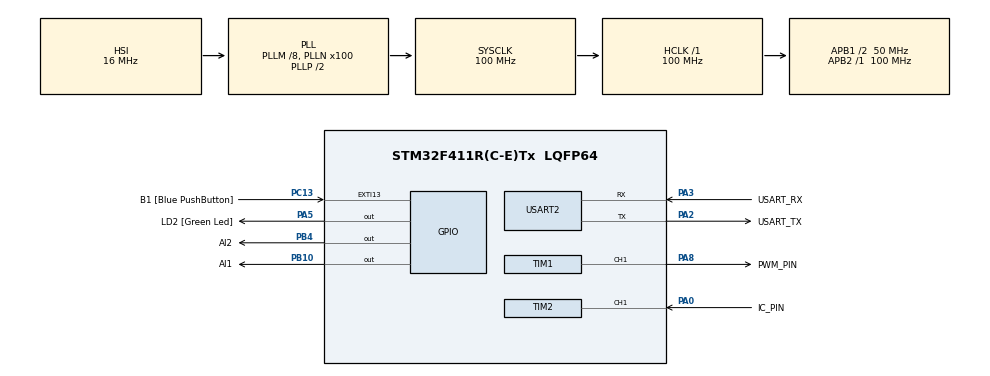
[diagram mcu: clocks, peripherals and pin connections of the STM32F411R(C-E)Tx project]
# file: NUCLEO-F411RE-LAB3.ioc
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Dma.Request0=TIM2_CH1
Dma.TIM2_CH1.0.Direction=DMA_PERIPH_TO_MEMORY
Dma.TIM2_CH1.0.FIFOMode=DMA_FIFOMODE_DISABLE
Dma.TIM2_CH1.0.Instance=DMA1_Stream5
Dma.TIM2_CH1.0.MemDataAlignment=DMA_MDATAALIGN_WORD
Dma.TIM2_CH1.0.MemInc=DMA_MINC_ENABLE
Dma.TIM2_CH1.0.Mode=DMA_CIRCULAR
Dma.TIM2_CH1.0.PeriphDataAlignment=DMA_PDATAALIGN_WORD
Dma.TIM2_CH1.0.PeriphInc=DMA_PINC_DISABLE
Dma.TIM2_CH1.0.Priority=DMA_PRIORITY_LOW
Mcu.Family=STM32F4
Mcu.Name=STM32F411R(C-E)Tx
Mcu.Package=LQFP64
NVIC.DMA1_Stream5_IRQn=true\:0\:0\:false\:false\:true\:false\:true\:true
NVIC.PriorityGroup=NVIC_PRIORITYGROUP_0
NVIC.TIM3_IRQn=true\:0\:0\:false\:false\:true\:true\:true\:true
PA0-WKUP.GPIO_Label=IC_PIN
PA0-WKUP.Signal=S_TIM2_CH1_ETR
PA13.GPIO_Label=TMS
PA13.Mode=Serial_Wire
PA13.Signal=SYS_JTMS-SWDIO
PA14.GPIO_Label=TCK
PA14.Mode=Serial_Wire
PA14.Signal=SYS_JTCK-SWCLK
PA2.GPIO_Label=USART_TX
PA2.Mode=Asynchronous
PA2.Signal=USART2_TX
PA3.GPIO_Label=USART_RX
PA3.Mode=Asynchronous
PA3.Signal=USART2_RX
PA5.GPIO_Label=LD2 [Green Led]
PA5.Signal=GPIO_Output
PA8.GPIO_Label=PWM_PIN
PA8.Signal=S_TIM1_CH1
PB10.GPIO_Label=AI1
PB10.Signal=GPIO_Output
PB3.GPIO_Label=SWO
PB3.Signal=SYS_JTDO-SWO
PB4.GPIO_Label=AI2
PB4.Signal=GPIO_Output
PC13-ANTI_TAMP.GPIO_Label=B1 [Blue PushButton]
PC13-ANTI_TAMP.GPIO_ModeDefaultEXTI=GPIO_MODE_IT_FALLING
PC13-ANTI_TAMP.Signal=GPXTI13
PC14-OSC32_IN.Mode=LSE-External-Oscillator
PC14-OSC32_IN.Signal=RCC_OSC32_IN
PC15-OSC32_OUT.Mode=LSE-External-Oscillator
PC15-OSC32_OUT.Signal=RCC_OSC32_OUT
PH0\ -\ OSC_IN.Mode=HSE-External-Clock-Source
PH0\ -\ OSC_IN.Signal=RCC_OSC_IN
PH1\ -\ OSC_OUT.Mode=HSE-External-Clock-Source
PH1\ -\ OSC_OUT.Signal=RCC_OSC_OUT
ProjectManager.HeapSize=0x200
ProjectManager.StackSize=0x400
ProjectManager.TargetToolchain=STM32CubeIDE
RCC.48MHZClocksFreq_Value=50000000
RCC.AHBFreq_Value=100000000
RCC.APB1CLKDivider=RCC_HCLK_DIV2
RCC.APB1Freq_Value=50000000
RCC.APB1TimFreq_Value=100000000
RCC.APB2Freq_Value=100000000
RCC.APB2TimFreq_Value=100000000
RCC.CortexFreq_Value=100000000
RCC.FLatency-AdvancedSettings=FLASH_LATENCY_3
RCC.HCLKFreq_Value=100000000
RCC.HSE_VALUE=8000000
RCC.HSI_VALUE=16000000
RCC.PLLM=8
RCC.PLLN=100
RCC.SYSCLKFreq_VALUE=100000000
RCC.SYSCLKSource=RCC_SYSCLKSOURCE_PLLCLK
RCC.VCOOutputFreq_Value=200000000
SH.S_TIM1_CH1.0=TIM1_CH1,PWM Generation1 CH1
SH.S_TIM2_CH1_ETR.0=TIM2_CH1,Input_Capture1_from_TI1
TIM1.Channel-PWM\ Generation1\ CH1=TIM_CHANNEL_1
TIM1.Period=62500 - 1
TIM1.Prescaler=2 - 1
TIM2.Channel-Input_Capture1_from_TI1=TIM_CHANNEL_1
TIM2.Prescaler=100 - 1
TIM3.Period=50000 - 1
TIM3.Prescaler=4 - 1
USART2.VirtualMode=VM_ASYNC
VP_TIM1_VS_ClockSourceINT.Mode=Internal
VP_TIM2_VS_ClockSourceINT.Mode=Internal
VP_TIM3_VS_ClockSourceINT.Mode=Internal
board=NUCLEO-F411RE

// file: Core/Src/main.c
/* USER CODE BEGIN Header */
/**
  ******************************************************************************
  * @file           : main.c
  * @brief          : Main program body
  ******************************************************************************
  * @attention
  *
  * Copyright (c) 2023 STMicroelectronics.
  * All rights reserved.
  *
  * This software is licensed under terms that can be found in the LICENSE file
  * in the root directory of this software component.
  * If no LICENSE file comes with this software, it is provided AS-IS.
  *
  ******************************************************************************
  */
/* USER CODE END Header */
#include "main.h"

/* USER CODE BEGIN Includes */
#include "motor_control.h"
/* USER CODE END Includes */

TIM_HandleTypeDef htim1;
TIM_HandleTypeDef htim2;
TIM_HandleTypeDef htim3;
DMA_HandleTypeDef hdma_tim2_ch1;

UART_HandleTypeDef huart2;

/* USER CODE BEGIN PV */
extern MOTOR_Structure M1;

uint32_t IC_Buffer[IC_BUFFER_SIZE];

int MotorSetRPM = 0;
GPIO_PinState MotorControlEnable = GPIO_PIN_SET;

float PWM_Duty_Cycle = 0;
float RPM = 0;
float c;

uint8_t DMACurrentPointer = 0;
uint8_t DMAPreviousPointer = 0;
/* USER CODE END PV */

void SystemClock_Config(void);
static void MX_GPIO_Init(void);
static void MX_DMA_Init(void);
static void MX_USART2_UART_Init(void);
static void MX_TIM1_Init(void);
static void MX_TIM2_Init(void);
static void MX_TIM3_Init(void);

int main(void)
{
  /* USER CODE BEGIN 1 */
	c = ComputeLowpassConstant(20, 500);
  /* USER CODE END 1 */

  /* MCU Configuration--------------------------------------------------------*/

  /* Reset of all peripherals, Initializes the Flash interface and the Systick. */
  HAL_Init();

  /* Configure the system clock */
  SystemClock_Config();

  /* Initialize all configured peripherals */
  MX_GPIO_Init();
  MX_DMA_Init();
  MX_USART2_UART_Init();
  MX_TIM1_Init();
  MX_TIM2_Init();
  MX_TIM3_Init();
  /* USER CODE BEGIN 2 */
  HAL_TIM_Base_Start(&htim1);
  HAL_TIM_Base_Start(&htim2);
  HAL_TIM_Base_Start_IT(&htim3);
  HAL_TIM_PWM_Start(&htim1, TIM_CHANNEL_1);
  HAL_TIM_IC_Start_DMA(&htim2, TIM_CHANNEL_1, IC_Buffer, IC_BUFFER_SIZE);
  /* USER CODE END 2 */

  /* Infinite loop */
  while (1)
  {

  }
}

void SystemClock_Config(void)
{
  RCC_OscInitTypeDef RCC_OscInitStruct = {0};
  RCC_ClkInitTypeDef RCC_ClkInitStruct = {0};

  /** Configure the main internal regulator output voltage
  */
  __HAL_RCC_PWR_CLK_ENABLE();
  __HAL_PWR_VOLTAGESCALING_CONFIG(PWR_REGULATOR_VOLTAGE_SCALE1);

  /** Initializes the RCC Oscillators according to the specified parameters
  * in the RCC_OscInitTypeDef structure.
  */
  RCC_OscInitStruct.OscillatorType = RCC_OSCILLATORTYPE_HSI;
  RCC_OscInitStruct.HSIState = RCC_HSI_ON;
  RCC_OscInitStruct.HSICalibrationValue = RCC_HSICALIBRATION_DEFAULT;
  RCC_OscInitStruct.PLL.PLLState = RCC_PLL_ON;
  RCC_OscInitStruct.PLL.PLLSource = RCC_PLLSOURCE_HSI;
  RCC_OscInitStruct.PLL.PLLM = 8;
  RCC_OscInitStruct.PLL.PLLN = 100;
  RCC_OscInitStruct.PLL.PLLP = RCC_PLLP_DIV2;
  RCC_OscInitStruct.PLL.PLLQ = 4;
  if (HAL_RCC_OscConfig(&RCC_OscInitStruct) != HAL_OK)
  {
    Error_Handler();
  }

  /** Initializes the CPU, AHB and APB buses clocks
  */
  RCC_ClkInitStruct.ClockType = RCC_CLOCKTYPE_HCLK|RCC_CLOCKTYPE_SYSCLK
                              |RCC_CLOCKTYPE_PCLK1|RCC_CLOCKTYPE_PCLK2;
  RCC_ClkInitStruct.SYSCLKSource = RCC_SYSCLKSOURCE_PLLCLK;
  RCC_ClkInitStruct.AHBCLKDivider = RCC_SYSCLK_DIV1;
  RCC_ClkInitStruct.APB1CLKDivider = RCC_HCLK_DIV2;
  RCC_ClkInitStruct.APB2CLKDivider = RCC_HCLK_DIV1;

  if (HAL_RCC_ClockConfig(&RCC_ClkInitStruct, FLASH_LATENCY_3) != HAL_OK)
  {
    Error_Handler();
  }
}

static void MX_TIM1_Init(void)
{

  TIM_ClockConfigTypeDef sClockSourceConfig = {0};
  TIM_MasterConfigTypeDef sMasterConfig = {0};
  TIM_OC_InitTypeDef sConfigOC = {0};
  TIM_BreakDeadTimeConfigTypeDef sBreakDeadTimeConfig = {0};

  htim1.Instance = TIM1;
  htim1.Init.Prescaler = 2 - 1;
  htim1.Init.CounterMode = TIM_COUNTERMODE_UP;
  htim1.Init.Period = 62500 - 1;
  htim1.Init.ClockDivision = TIM_CLOCKDIVISION_DIV1;
  htim1.Init.RepetitionCounter = 0;
  htim1.Init.AutoReloadPreload = TIM_AUTORELOAD_PRELOAD_DISABLE;
  if (HAL_TIM_Base_Init(&htim1) != HAL_OK)
  {
    Error_Handler();
  }
  sClockSourceConfig.ClockSource = TIM_CLOCKSOURCE_INTERNAL;
  if (HAL_TIM_ConfigClockSource(&htim1, &sClockSourceConfig) != HAL_OK)
  {
    Error_Handler();
  }
  if (HAL_TIM_PWM_Init(&htim1) != HAL_OK)
  {
    Error_Handler();
  }
  sMasterConfig.MasterOutputTrigger = TIM_TRGO_RESET;
  sMasterConfig.MasterSlaveMode = TIM_MASTERSLAVEMODE_DISABLE;
  if (HAL_TIMEx_MasterConfigSynchronization(&htim1, &sMasterConfig) != HAL_OK)
  {
    Error_Handler();
  }
  sConfigOC.OCMode = TIM_OCMODE_PWM1;
  sConfigOC.Pulse = 0;
  sConfigOC.OCPolarity = TIM_OCPOLARITY_HIGH;
  sConfigOC.OCNPolarity = TIM_OCNPOLARITY_HIGH;
  sConfigOC.OCFastMode = TIM_OCFAST_DISABLE;
  sConfigOC.OCIdleState = TIM_OCIDLESTATE_RESET;
  sConfigOC.OCNIdleState = TIM_OCNIDLESTATE_RESET;
  if (HAL_TIM_PWM_ConfigChannel(&htim1, &sConfigOC, TIM_CHANNEL_1) != HAL_OK)
  {
    Error_Handler();
  }
  sBreakDeadTimeConfig.OffStateRunMode = TIM_OSSR_DISABLE;
  sBreakDeadTimeConfig.OffStateIDLEMode = TIM_OSSI_DISABLE;
  sBreakDeadTimeConfig.LockLevel = TIM_LOCKLEVEL_OFF;
  sBreakDeadTimeConfig.DeadTime = 0;
  sBreakDeadTimeConfig.BreakState = TIM_BREAK_DISABLE;
  sBreakDeadTimeConfig.BreakPolarity = TIM_BREAKPOLARITY_HIGH;
  sBreakDeadTimeConfig.AutomaticOutput = TIM_AUTOMATICOUTPUT_DISABLE;
  if (HAL_TIMEx_ConfigBreakDeadTime(&htim1, &sBreakDeadTimeConfig) != HAL_OK)
  {
    Error_Handler();
  }
  HAL_TIM_MspPostInit(&htim1);

}

static void MX_TIM2_Init(void)
{

  TIM_ClockConfigTypeDef sClockSourceConfig = {0};
  TIM_MasterConfigTypeDef sMasterConfig = {0};
  TIM_IC_InitTypeDef sConfigIC = {0};

  htim2.Instance = TIM2;
  htim2.Init.Prescaler = 100 - 1;
  htim2.Init.CounterMode = TIM_COUNTERMODE_UP;
  htim2.Init.Period = 4294967295;
  htim2.Init.ClockDivision = TIM_CLOCKDIVISION_DIV1;
  htim2.Init.AutoReloadPreload = TIM_AUTORELOAD_PRELOAD_DISABLE;
  if (HAL_TIM_Base_Init(&htim2) != HAL_OK)
  {
    Error_Handler();
  }
  sClockSourceConfig.ClockSource = TIM_CLOCKSOURCE_INTERNAL;
  if (HAL_TIM_ConfigClockSource(&htim2, &sClockSourceConfig) != HAL_OK)
  {
    Error_Handler();
  }
  if (HAL_TIM_IC_Init(&htim2) != HAL_OK)
  {
    Error_Handler();
  }
  sMasterConfig.MasterOutputTrigger = TIM_TRGO_RESET;
  sMasterConfig.MasterSlaveMode = TIM_MASTERSLAVEMODE_DISABLE;
  if (HAL_TIMEx_MasterConfigSynchronization(&htim2, &sMasterConfig) != HAL_OK)
  {
    Error_Handler();
  }
  sConfigIC.ICPolarity = TIM_INPUTCHANNELPOLARITY_RISING;
  sConfigIC.ICSelection = TIM_ICSELECTION_DIRECTTI;
  sConfigIC.ICPrescaler = TIM_ICPSC_DIV1;
  sConfigIC.ICFilter = 0;
  if (HAL_TIM_IC_ConfigChannel(&htim2, &sConfigIC, TIM_CHANNEL_1) != HAL_OK)
  {
    Error_Handler();
  }

}

static void MX_TIM3_Init(void)
{

  TIM_ClockConfigTypeDef sClockSourceConfig = {0};
  TIM_MasterConfigTypeDef sMasterConfig = {0};

  htim3.Instance = TIM3;
  htim3.Init.Prescaler = 4 - 1;
  htim3.Init.CounterMode = TIM_COUNTERMODE_UP;
  htim3.Init.Period = 50000 - 1;
  htim3.Init.ClockDivision = TIM_CLOCKDIVISION_DIV1;
  htim3.Init.AutoReloadPreload = TIM_AUTORELOAD_PRELOAD_DISABLE;
  if (HAL_TIM_Base_Init(&htim3) != HAL_OK)
  {
    Error_Handler();
  }
  sClockSourceConfig.ClockSource = TIM_CLOCKSOURCE_INTERNAL;
  if (HAL_TIM_ConfigClockSource(&htim3, &sClockSourceConfig) != HAL_OK)
  {
    Error_Handler();
  }
  sMasterConfig.MasterOutputTrigger = TIM_TRGO_RESET;
  sMasterConfig.MasterSlaveMode = TIM_MASTERSLAVEMODE_DISABLE;
  if (HAL_TIMEx_MasterConfigSynchronization(&htim3, &sMasterConfig) != HAL_OK)
  {
    Error_Handler();
  }

}

static void MX_USART2_UART_Init(void)
{

  huart2.Instance = USART2;
  huart2.Init.BaudRate = 115200;
  huart2.Init.WordLength = UART_WORDLENGTH_8B;
  huart2.Init.StopBits = UART_STOPBITS_1;
  huart2.Init.Parity = UART_PARITY_NONE;
  huart2.Init.Mode = UART_MODE_TX_RX;
  huart2.Init.HwFlowCtl = UART_HWCONTROL_NONE;
  huart2.Init.OverSampling = UART_OVERSAMPLING_16;
  if (HAL_UART_Init(&huart2) != HAL_OK)
  {
    Error_Handler();
  }

}

static void MX_DMA_Init(void)
{

  /* DMA controller clock enable */
  __HAL_RCC_DMA1_CLK_ENABLE();

  /* DMA interrupt init */
  /* DMA1_Stream5_IRQn interrupt configuration */
  HAL_NVIC_SetPriority(DMA1_Stream5_IRQn, 0, 0);
  HAL_NVIC_EnableIRQ(DMA1_Stream5_IRQn);

}

static void MX_GPIO_Init(void)
{
  GPIO_InitTypeDef GPIO_InitStruct = {0};

  /* GPIO Ports Clock Enable */
  __HAL_RCC_GPIOC_CLK_ENABLE();
  __HAL_RCC_GPIOH_CLK_ENABLE();
  __HAL_RCC_GPIOA_CLK_ENABLE();
  __HAL_RCC_GPIOB_CLK_ENABLE();

  /*Configure GPIO pin Output Level */
  HAL_GPIO_WritePin(LD2_GPIO_Port, LD2_Pin, GPIO_PIN_RESET);

  /*Configure GPIO pin Output Level */
  HAL_GPIO_WritePin(GPIOB, AI1_Pin|AI2_Pin, GPIO_PIN_RESET);

  /*Configure GPIO pin : B1_Pin */
  GPIO_InitStruct.Pin = B1_Pin;
  GPIO_InitStruct.Mode = GPIO_MODE_IT_FALLING;
  GPIO_InitStruct.Pull = GPIO_NOPULL;
  HAL_GPIO_Init(B1_GPIO_Port, &GPIO_InitStruct);

  /*Configure GPIO pin : LD2_Pin */
  GPIO_InitStruct.Pin = LD2_Pin;
  GPIO_InitStruct.Mode = GPIO_MODE_OUTPUT_PP;
  GPIO_InitStruct.Pull = GPIO_NOPULL;
  GPIO_InitStruct.Speed = GPIO_SPEED_FREQ_LOW;
  HAL_GPIO_Init(LD2_GPIO_Port, &GPIO_InitStruct);

  /*Configure GPIO pins : AI1_Pin AI2_Pin */
  GPIO_InitStruct.Pin = AI1_Pin|AI2_Pin;
  GPIO_InitStruct.Mode = GPIO_MODE_OUTPUT_PP;
  GPIO_InitStruct.Pull = GPIO_NOPULL;
  GPIO_InitStruct.Speed = GPIO_SPEED_FREQ_LOW;
  HAL_GPIO_Init(GPIOB, &GPIO_InitStruct);

}

/* USER CODE BEGIN 4 */
void HAL_TIM_PeriodElapsedCallback(TIM_HandleTypeDef *htim)
{
	if (htim->Instance == TIM3)
	{
		float RPM_Raw = MotorReadRPM(htim2, IC_Buffer);
		if (1 / RPM_Raw != 0 && PWM_Duty_Cycle != 0) RPM = (c * RPM_Raw) + ((1 - c) * RPM);
		else RPM = 0;

		if (MotorControlEnable == GPIO_PIN_SET) MotorControlRPM(M1, MotorSetRPM, RPM);
		else MotorSetDuty(M1, PWM_Duty_Cycle);
	}
}
/* USER CODE END 4 */

void Error_Handler(void)
{
  __disable_irq();
  while (1)
  {
  }
}
